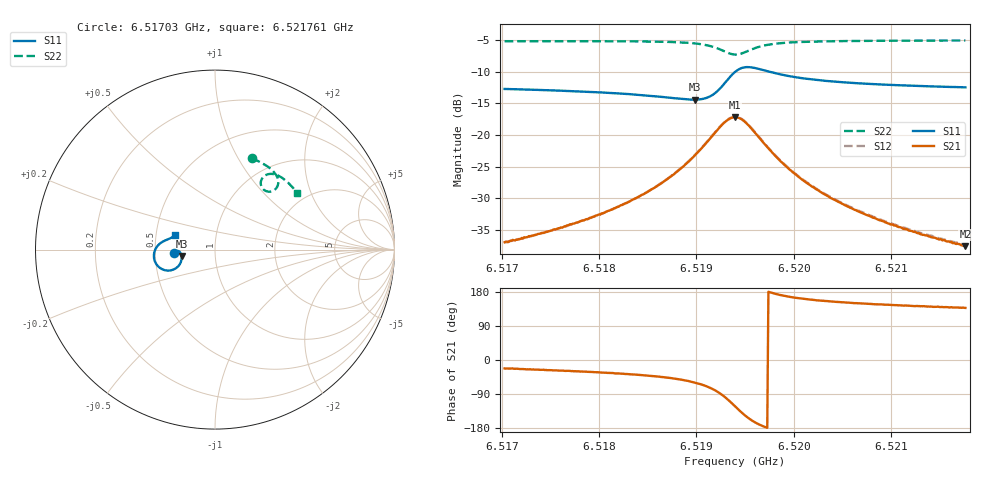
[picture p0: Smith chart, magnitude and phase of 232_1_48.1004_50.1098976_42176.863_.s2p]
#  HZ  S  RI  R  50.00
! Rohde & Schwarz Vector Network Analyzer
! Rohde-Schwarz,ZNB20-2Port,1311601062101988,3.16
! Created: UTC 12/23/2023, 3:57:51 AM
! freq[Hz]  re:S11  im:S11  re:S21  im:S21  re:S12  im:S12  re:S22  im:S22
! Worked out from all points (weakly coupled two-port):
!   401 points, 6.51703 GHz to 6.521761 GHz, reference 50 ohm
!   highest |S21| = -17.20 dB at 6.519396 GHz (marker M1); lowest = -37.5 dB at 6.521761 GHz (marker M2)
!   lowest |S11| = -14.4 dB at 6.518982 GHz (marker M3), VSWR 1.47, Z = 34.2 - j2.54 ohm
!   |S11| at or under -10 dB: start of sweep to 6.519401 GHz; 6.519743 GHz to end of sweep
!   |S22| runs from -7.3 to -5.1 dB; largest |S21 - S12| = 0.0042
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6.5170302e9  -0.2301 -0.0164  0.0132 -0.00542  0.0133 -0.00492  0.2053 0.5084
6.5174915e9  -0.2248 -0.00992  0.0156 -0.00786  0.016 -0.0074  0.2393 0.4939
6.5178226e9  -0.2199 -0.00618  0.0182 -0.0106  0.0185 -0.01  0.2638 0.4812
6.5182248e9  -0.212 -0.00417  0.0226 -0.0165  0.0231 -0.0157  0.2939 0.4623
6.5184377e9  -0.2063 -0.00546  0.0259 -0.0217  0.0265 -0.0208  0.3101 0.4498
6.5186151e9  -0.2006 -0.00896  0.0292 -0.0281  0.0302 -0.0273  0.3241 0.4369
6.5187925e9  -0.1936 -0.0169  0.0328 -0.0388  0.0342 -0.038  0.3378 0.4202
6.5189818e9  -0.1866 -0.0357  0.0351 -0.0592  0.0371 -0.0584  0.3501 0.3942
6.5190882e9  -0.1865 -0.0551  0.0319 -0.0781  0.0344 -0.0778  0.3525 0.373
6.519171e9  -0.1935 -0.0768  0.022 -0.0976  0.0251 -0.0977  0.3477 0.3525
6.5193011e9  -0.2365 -0.113  -0.0218 -0.1262  -0.0181 -0.1279  0.3145 0.3242
6.5193957e9  -0.2943 -0.1092  -0.0732 -0.1171  -0.0705 -0.1201  0.2745 0.3316
6.519443e9  -0.3194 -0.0906  -0.0936 -0.098  -0.0916 -0.1015  0.2605 0.3477
6.5195022e9  -0.337 -0.059  -0.1057 -0.0686  -0.1048 -0.0721  0.2549 0.372
6.5195968e9  -0.3377 -0.0132  -0.1012 -0.0294  -0.1012 -0.0323  0.2669 0.4025
6.5197033e9  -0.3217 0.0184  -0.0841 -0.00478  -0.0846 -0.00725  0.2899 0.4182
6.5199398e9  -0.2887 0.0458  -0.0536 0.0119  -0.0545 0.0105  0.3313 0.4197
6.5201882e9  -0.2683 0.055  -0.0365 0.0139  -0.0374 0.0133  0.3604 0.4083
6.5205548e9  -0.2512 0.0621  -0.0239 0.013  -0.0247 0.0125  0.3906 0.3874
6.5209806e9  -0.239 0.0683  -0.0165 0.0113  -0.0171 0.0111  0.4181 0.3622
6.5214656e9  -0.229 0.0749  -0.0118 0.00973  -0.0123 0.00961  0.4445 0.3328
6.5217613e9  -0.224 0.079  -0.00979 0.00899  -0.0103 0.00908  0.4588 0.3143
